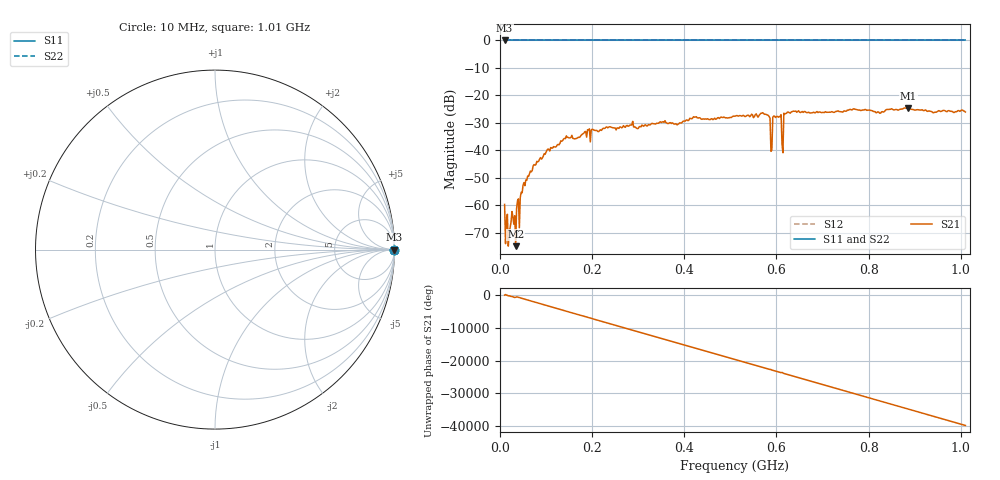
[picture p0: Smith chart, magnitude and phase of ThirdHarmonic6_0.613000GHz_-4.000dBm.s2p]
! 8/15/2025 8:05:44 PM
! C:\ANRITSUVNA\TEMP\TEMP.S2P
! CHANNEL.1
! TR.MEASUREMENT
! RAW.DATA
! RF.CORRECTION.OFF
! AVERAGING.OFF
! IF.BANDWIDTH: 5KHZ
! SWEEPTYPE:  FREQ.SWEEP(Linear)
! Reference Plane Port Info
! PORT:  PORT1  PORT2
! DISTANCE:  0  m  0  m
! TIME:  0  s  0  s
! PHASE.OFFSET:  0  deg.  0  deg.
! LOSS:  0  dB  0  dB
! REF.LOSS:  0  dB  0  dB
! REF.FREQ:  0  Hz  0  Hz
! Power Info
! POWER:  -20  dBm  -20  dBm
! EFF.POWER:  -20  dBm  -20  dBm
! SOURCE.ATTEN:  0  dB  0  dB
! TEST.ATTEN:  0  dB  0  dB
# GHZ S RI R 50.0
! FREQ.GHZ  S11RE  S11IM  S21RE  S21IM  S12RE  S12IM  S22RE  S22IM
!; PortSelection: Port_12
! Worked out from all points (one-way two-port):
!   501 points, 10 MHz to 1.01 GHz, reference 50 ohm
!   highest |S21| = -24.60 dB at 886 MHz (marker M1); lowest = -75.0 dB at 34 MHz (marker M2)
!   lowest |S11| = 0.0 dB at 10 MHz (marker M3)
!   |S11| at or under -10 dB: nowhere
!   |S22| runs from 0.0 to 0.0 dB; largest |S21 - S12| = 1.1
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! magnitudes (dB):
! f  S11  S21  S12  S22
! 10 MHz  0.0  -59.7  0.0  0.0
! 16 MHz  0.0  -63.3  0.0  0.0
! 34 MHz  0.0  -75.0  0.0  0.0
! 48 MHz  0.0  -55.6  0.0  0.0
! 76 MHz  0.0  -45.5  0.0  0.0
! 142 MHz  0.0  -35.8  0.0  0.0
! 178 MHz  0.0  -34.3  0.0  0.0
! 344 MHz  0.0  -30.2  0.0  0.0
! 510 MHz  0.0  -27.6  0.0  0.0
! 574 MHz  0.0  -26.9  0.0  0.0
! 582 MHz  0.0  -27.3  0.0  0.0
! 588 MHz  0.0  -40.4  0.0  0.0
! 592 MHz  0.0  -28.0  0.0  0.0
! 596 MHz  0.0  -27.6  0.0  0.0
! 606 MHz  0.0  -27.7  0.0  0.0
! 610 MHz  0.0  -27.1  0.0  0.0
! 616 MHz  0.0  -26.5  0.0  0.0
! 620 MHz  0.0  -26.7  0.0  0.0
! 678 MHz  0.0  -26.4  0.0  0.0
! 844 MHz  0.0  -25.1  0.0  0.0
! 886 MHz  0.0  -24.6  0.0  0.0
! 1.01 GHz  0.0  -26.1  0.0  0.0
